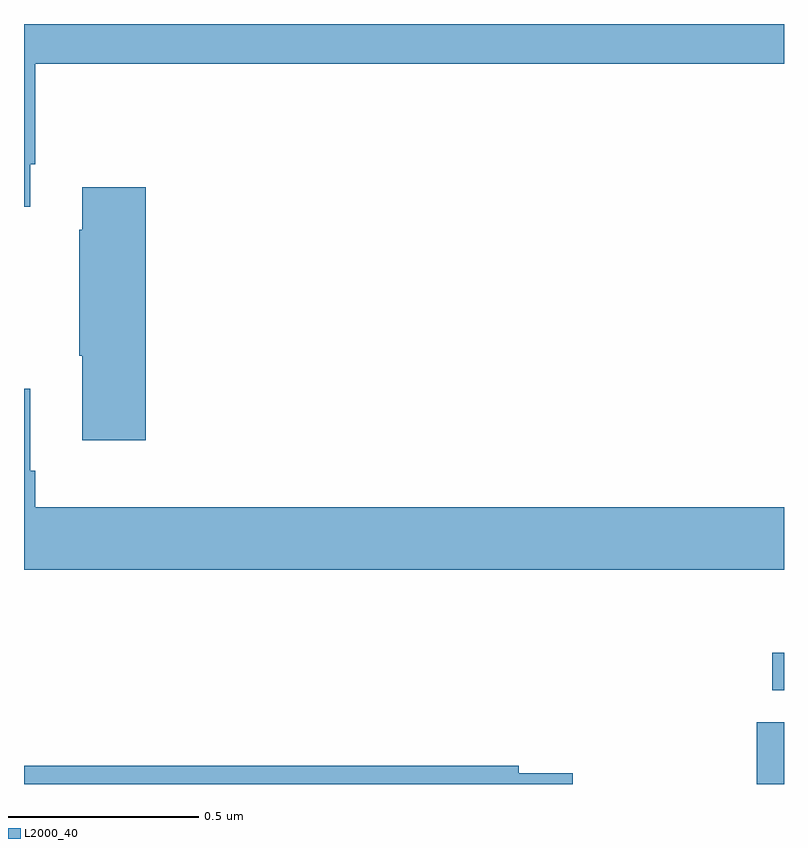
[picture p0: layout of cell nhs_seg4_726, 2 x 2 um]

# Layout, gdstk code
import gdstk
lib = gdstk.Library(unit=1e-6, precision=1e-09)
def R(c, l, rs):  # rectangles x0, y0, x1, y1
    for r in rs: c.add(gdstk.rectangle(r[:2], r[2:], *l))
def P(c, l, *ps):  # polygons
    for p in ps: c.add(gdstk.Polygon(p, *l))
L2000_40 = (2000, 40)

nhs_seg4_726 = lib.new_cell('nhs_seg4_726')
R(nhs_seg4_726, L2000_40, [(120.928,818.9,121,819.062), (120.969,819.147,121,819.246)])
P(nhs_seg4_726, L2000_40, [(119.017,820.531),(119.03,820.531),(119.03,820.796),(121,820.796),(121,820.9),(119,820.9),(119,820.419),(119.017,820.419)],
  [(119.321,820.471),(119.153,820.471),(119.153,820.358),(119.146,820.358),(119.146,820.027),(119.153,820.027),(119.153,819.804),(119.321,819.804)],
  [(121,819.628),(119.03,819.628),(119.03,819.724),(119.017,819.724),(119.017,819.94),(119,819.94),(119,819.464),(121,819.464)],
  [(120.444,818.928),(120.302,818.928),(120.302,818.948),(119,818.948),(119,818.9),(120.444,818.9)])

lib.write_gds('nhs_seg4_726.gds')
